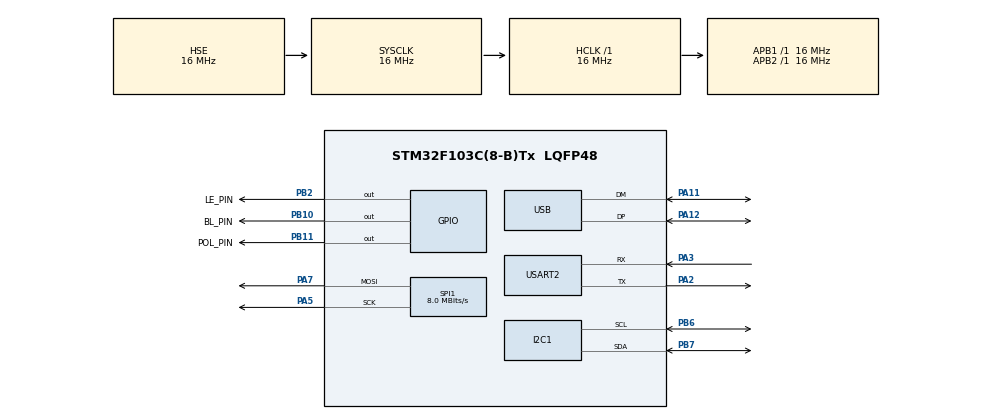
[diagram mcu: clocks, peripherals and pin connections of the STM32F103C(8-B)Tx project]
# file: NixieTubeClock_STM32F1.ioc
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Mcu.Family=STM32F1
Mcu.Name=STM32F103C(8-B)Tx
Mcu.Package=LQFP48
NVIC.PriorityGroup=NVIC_PRIORITYGROUP_4
PA11.Mode=Device
PA11.Signal=USB_DM
PA12.Mode=Device
PA12.Signal=USB_DP
PA13.Mode=Serial_Wire
PA13.Signal=SYS_JTMS-SWDIO
PA14.Mode=Serial_Wire
PA14.Signal=SYS_JTCK-SWCLK
PA2.Mode=Asynchronous
PA2.Signal=USART2_TX
PA3.Mode=Asynchronous
PA3.Signal=USART2_RX
PA5.Mode=TX_Only_Simplex_Unidirect_Master
PA5.Signal=SPI1_SCK
PA7.Mode=TX_Only_Simplex_Unidirect_Master
PA7.Signal=SPI1_MOSI
PB10.GPIO_Label=BL_PIN
PB10.Signal=GPIO_Output
PB11.GPIO_Label=POL_PIN
PB11.Signal=GPIO_Output
PB2.GPIO_Label=LE_PIN
PB2.Signal=GPIO_Output
PB6.Mode=I2C
PB6.Signal=I2C1_SCL
PB7.Mode=I2C
PB7.Signal=I2C1_SDA
PD0-OSC_IN.Mode=HSE-External-Oscillator
PD0-OSC_IN.Signal=RCC_OSC_IN
PD1-OSC_OUT.Mode=HSE-External-Oscillator
PD1-OSC_OUT.Signal=RCC_OSC_OUT
ProjectManager.HeapSize=0x200
ProjectManager.StackSize=0x400
ProjectManager.TargetToolchain=STM32CubeIDE
RCC.AHBFreq_Value=16000000
RCC.APB1Freq_Value=16000000
RCC.APB1TimFreq_Value=16000000
RCC.APB2Freq_Value=16000000
RCC.APB2TimFreq_Value=16000000
RCC.HCLKFreq_Value=16000000
RCC.HSE_VALUE=16000000
RCC.PLLMUL=RCC_PLL_MUL3
RCC.SYSCLKFreq_VALUE=16000000
RCC.SYSCLKSource=RCC_SYSCLKSOURCE_HSE
RCC.USBFreq_Value=48000000
SPI1.CalculateBaudRate=8.0 MBits/s
SPI1.Direction=SPI_DIRECTION_2LINES
SPI1.Mode=SPI_MODE_MASTER
SPI1.VirtualType=VM_MASTER
USART2.VirtualMode=VM_ASYNC
board=custom

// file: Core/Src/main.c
/* USER CODE BEGIN Header */
/**
  ******************************************************************************
  * @file           : main.c
  * @brief          : Main program body
  ******************************************************************************
  * @attention
  *
  * Copyright (c) 2023 STMicroelectronics.
  * All rights reserved.
  *
  * This software is licensed under terms that can be found in the LICENSE file
  * in the root directory of this software component.
  * If no LICENSE file comes with this software, it is provided AS-IS.
  *
  ******************************************************************************
  */
/* USER CODE END Header */
#include "main.h"

/* USER CODE BEGIN Includes */
#include "nixieDriver.h"
/* USER CODE END Includes */

I2C_HandleTypeDef hi2c1;

SPI_HandleTypeDef hspi1;

UART_HandleTypeDef huart2;

PCD_HandleTypeDef hpcd_USB_FS;

void SystemClock_Config(void);
static void MX_GPIO_Init(void);
static void MX_I2C1_Init(void);
static void MX_SPI1_Init(void);
static void MX_USART2_UART_Init(void);
static void MX_USB_PCD_Init(void);
/* USER CODE BEGIN PFP */
static void HV5522_Init(void);
static void HV5522LatchData(void);
/* USER CODE END PFP */

/* USER CODE BEGIN 0 */

//uint8_t dataArr[4] = {0x01, 0x00, 0x00, 0x01};
uint8_t stringArr[] = "Messagee\r\n";
uint8_t *myPtr;

/* USER CODE END 0 */

int main(void)
{
  /* USER CODE BEGIN 1 */
  uint8_t numberOfDigits = 9;
  uint8_t sizeOfnixeArr = 4;
  /* USER CODE END 1 */

  /* MCU Configuration--------------------------------------------------------*/

  /* Reset of all peripherals, Initializes the Flash interface and the Systick. */
  HAL_Init();

  /* Configure the system clock */
  SystemClock_Config();

  /* Initialize all configured peripherals */
  MX_GPIO_Init();
  MX_I2C1_Init();
  MX_SPI1_Init();
  MX_USART2_UART_Init();
  MX_USB_PCD_Init();
  /* USER CODE BEGIN 2 */
  HV5522_Init();	//HV5522 init
  /* USER CODE END 2 */

  /* Infinite loop */
  /* USER CODE BEGIN WHILE */
  while (1)
  {

    for(uint8_t iter = 0; iter <= numberOfDigits; iter++)
    {
      myPtr = returnArrayData(iter);

      for(uint8_t i = 0; i < sizeOfnixeArr; i++)
      {
      //TO DO refactor code to be more readable
      uint8_t derefData = *(myPtr + i);
      HAL_SPI_Transmit(&hspi1, &derefData , sizeof(derefData), 0);
      }

      HV5522LatchData();
      HAL_Delay(1000);
    }

    /*
      HAL_Delay(1000);
    if(!(HAL_GPIO_ReadPin(GPIOC, GPIO_PIN_13)))
    {
      HAL_GPIO_WritePin(GPIOA, GPIO_PIN_5, SET);
      HAL_UART_Transmit(&huart2, stringArr, sizeof(stringArr), 10);
      HAL_Delay(30);
    }
    else
    {
      HAL_GPIO_WritePin(GPIOA, GPIO_PIN_5, RESET);
    }
    */

    /* USER CODE END WHILE */

  }
}

void SystemClock_Config(void)
{
  RCC_OscInitTypeDef RCC_OscInitStruct = {0};
  RCC_ClkInitTypeDef RCC_ClkInitStruct = {0};
  RCC_PeriphCLKInitTypeDef PeriphClkInit = {0};

  /** Initializes the RCC Oscillators according to the specified parameters
  * in the RCC_OscInitTypeDef structure.
  */
  RCC_OscInitStruct.OscillatorType = RCC_OSCILLATORTYPE_HSE;
  RCC_OscInitStruct.HSEState = RCC_HSE_ON;
  RCC_OscInitStruct.HSEPredivValue = RCC_HSE_PREDIV_DIV1;
  RCC_OscInitStruct.HSIState = RCC_HSI_ON;
  RCC_OscInitStruct.PLL.PLLState = RCC_PLL_ON;
  RCC_OscInitStruct.PLL.PLLSource = RCC_PLLSOURCE_HSE;
  RCC_OscInitStruct.PLL.PLLMUL = RCC_PLL_MUL3;
  if (HAL_RCC_OscConfig(&RCC_OscInitStruct) != HAL_OK)
  {
    Error_Handler();
  }

  /** Initializes the CPU, AHB and APB buses clocks
  */
  RCC_ClkInitStruct.ClockType = RCC_CLOCKTYPE_HCLK|RCC_CLOCKTYPE_SYSCLK
                              |RCC_CLOCKTYPE_PCLK1|RCC_CLOCKTYPE_PCLK2;
  RCC_ClkInitStruct.SYSCLKSource = RCC_SYSCLKSOURCE_HSE;
  RCC_ClkInitStruct.AHBCLKDivider = RCC_SYSCLK_DIV1;
  RCC_ClkInitStruct.APB1CLKDivider = RCC_HCLK_DIV1;
  RCC_ClkInitStruct.APB2CLKDivider = RCC_HCLK_DIV1;

  if (HAL_RCC_ClockConfig(&RCC_ClkInitStruct, FLASH_LATENCY_0) != HAL_OK)
  {
    Error_Handler();
  }
  PeriphClkInit.PeriphClockSelection = RCC_PERIPHCLK_USB;
  PeriphClkInit.UsbClockSelection = RCC_USBCLKSOURCE_PLL;
  if (HAL_RCCEx_PeriphCLKConfig(&PeriphClkInit) != HAL_OK)
  {
    Error_Handler();
  }
}

static void MX_I2C1_Init(void)
{

  hi2c1.Instance = I2C1;
  hi2c1.Init.ClockSpeed = 100000;
  hi2c1.Init.DutyCycle = I2C_DUTYCYCLE_2;
  hi2c1.Init.OwnAddress1 = 0;
  hi2c1.Init.AddressingMode = I2C_ADDRESSINGMODE_7BIT;
  hi2c1.Init.DualAddressMode = I2C_DUALADDRESS_DISABLE;
  hi2c1.Init.OwnAddress2 = 0;
  hi2c1.Init.GeneralCallMode = I2C_GENERALCALL_DISABLE;
  hi2c1.Init.NoStretchMode = I2C_NOSTRETCH_DISABLE;
  if (HAL_I2C_Init(&hi2c1) != HAL_OK)
  {
    Error_Handler();
  }

}

static void MX_SPI1_Init(void)
{

  /* SPI1 parameter configuration*/
  hspi1.Instance = SPI1;
  hspi1.Init.Mode = SPI_MODE_MASTER;
  hspi1.Init.Direction = SPI_DIRECTION_2LINES;
  hspi1.Init.DataSize = SPI_DATASIZE_8BIT;
  hspi1.Init.CLKPolarity = SPI_POLARITY_LOW;
  hspi1.Init.CLKPhase = SPI_PHASE_1EDGE;
  hspi1.Init.NSS = SPI_NSS_SOFT;
  hspi1.Init.BaudRatePrescaler = SPI_BAUDRATEPRESCALER_2;
  hspi1.Init.FirstBit = SPI_FIRSTBIT_MSB;
  hspi1.Init.TIMode = SPI_TIMODE_DISABLE;
  hspi1.Init.CRCCalculation = SPI_CRCCALCULATION_DISABLE;
  hspi1.Init.CRCPolynomial = 10;
  if (HAL_SPI_Init(&hspi1) != HAL_OK)
  {
    Error_Handler();
  }

}

static void MX_USART2_UART_Init(void)
{

  huart2.Instance = USART2;
  huart2.Init.BaudRate = 115200;
  huart2.Init.WordLength = UART_WORDLENGTH_8B;
  huart2.Init.StopBits = UART_STOPBITS_1;
  huart2.Init.Parity = UART_PARITY_NONE;
  huart2.Init.Mode = UART_MODE_TX_RX;
  huart2.Init.HwFlowCtl = UART_HWCONTROL_NONE;
  huart2.Init.OverSampling = UART_OVERSAMPLING_16;
  if (HAL_UART_Init(&huart2) != HAL_OK)
  {
    Error_Handler();
  }

}

static void MX_USB_PCD_Init(void)
{

  hpcd_USB_FS.Instance = USB;
  hpcd_USB_FS.Init.dev_endpoints = 8;
  hpcd_USB_FS.Init.speed = PCD_SPEED_FULL;
  hpcd_USB_FS.Init.low_power_enable = DISABLE;
  hpcd_USB_FS.Init.lpm_enable = DISABLE;
  hpcd_USB_FS.Init.battery_charging_enable = DISABLE;
  if (HAL_PCD_Init(&hpcd_USB_FS) != HAL_OK)
  {
    Error_Handler();
  }

}

static void MX_GPIO_Init(void)
{
  GPIO_InitTypeDef GPIO_InitStruct = {0};

  /* GPIO Ports Clock Enable */
  __HAL_RCC_GPIOD_CLK_ENABLE();
  __HAL_RCC_GPIOA_CLK_ENABLE();
  __HAL_RCC_GPIOB_CLK_ENABLE();

  /*Configure GPIO pin Output Level */
  HAL_GPIO_WritePin(GPIOB, LE_PIN_Pin|BL_PIN_Pin|POL_PIN_Pin, GPIO_PIN_RESET);

  /*Configure GPIO pins : LE_PIN_Pin BL_PIN_Pin POL_PIN_Pin */
  GPIO_InitStruct.Pin = LE_PIN_Pin|BL_PIN_Pin|POL_PIN_Pin;
  GPIO_InitStruct.Mode = GPIO_MODE_OUTPUT_PP;
  GPIO_InitStruct.Pull = GPIO_NOPULL;
  GPIO_InitStruct.Speed = GPIO_SPEED_FREQ_LOW;
  HAL_GPIO_Init(GPIOB, &GPIO_InitStruct);

}

/* USER CODE BEGIN 4 */

static void HV5522_Init()
{
  HAL_GPIO_WritePin(GPIOC, GPIO_PIN_10, SET);//BL
  HAL_Delay(10);
  HAL_GPIO_WritePin(GPIOC, GPIO_PIN_2, SET);//POL
  HAL_Delay(10);
  HAL_GPIO_WritePin(GPIOC, GPIO_PIN_12, RESET); // DATA_IN
  HAL_Delay(10);
  HAL_GPIO_WritePin(GPIOC, GPIO_PIN_0, RESET); //CLK
  HAL_Delay(10);
  HAL_GPIO_WritePin(GPIOC, GPIO_PIN_11, RESET); //LE
}

static void HV5522LatchData()
{
  HAL_Delay(10);
  HAL_GPIO_WritePin(GPIOC, GPIO_PIN_11, SET); //LE
  HAL_Delay(10);
  HAL_GPIO_WritePin(GPIOC, GPIO_PIN_11, RESET); //LE
}

/* USER CODE END 4 */

void Error_Handler(void)
{
  __disable_irq();
  while (1)
  {
  }
}
